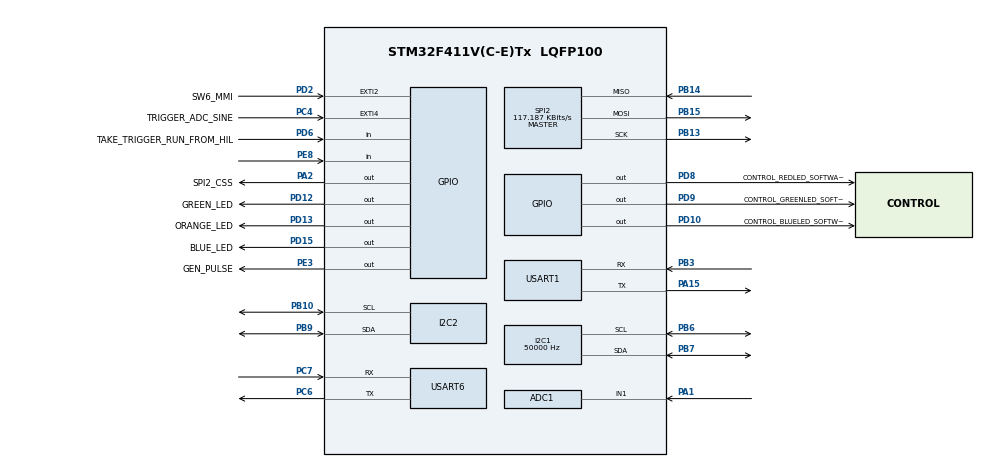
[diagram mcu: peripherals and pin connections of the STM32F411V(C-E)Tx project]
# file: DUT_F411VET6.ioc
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ADC1.Channel-2\#ChannelRegularConversion=ADC_CHANNEL_1
ADC1.DMAContinuousRequests=ENABLE
ADC1.ExternalTrigConv=ADC_EXTERNALTRIGCONV_T2_TRGO
ADC1.NbrOfConversionFlag=1
ADC1.Rank-2\#ChannelRegularConversion=1
ADC1.SamplingTime-2\#ChannelRegularConversion=ADC_SAMPLETIME_480CYCLES
ADC1.master=1
Dma.ADC1.0.Direction=DMA_PERIPH_TO_MEMORY
Dma.ADC1.0.FIFOMode=DMA_FIFOMODE_DISABLE
Dma.ADC1.0.Instance=DMA2_Stream0
Dma.ADC1.0.MemDataAlignment=DMA_MDATAALIGN_HALFWORD
Dma.ADC1.0.MemInc=DMA_MINC_ENABLE
Dma.ADC1.0.Mode=DMA_CIRCULAR
Dma.ADC1.0.PeriphDataAlignment=DMA_PDATAALIGN_HALFWORD
Dma.ADC1.0.PeriphInc=DMA_PINC_DISABLE
Dma.ADC1.0.Priority=DMA_PRIORITY_HIGH
Dma.Request0=ADC1
I2C1.ClockSpeed=50000
I2C2.I2C_Mode=I2C_Fast
Mcu.Family=STM32F4
Mcu.Name=STM32F411V(C-E)Tx
Mcu.Package=LQFP100
NVIC.DMA2_Stream0_IRQn=true\:6\:0\:true\:false\:true\:false\:true\:true
NVIC.EXTI2_IRQn=true\:6\:0\:true\:false\:true\:true\:true\:true
NVIC.EXTI4_IRQn=true\:6\:0\:true\:false\:true\:true\:true\:true
NVIC.PriorityGroup=NVIC_PRIORITYGROUP_4
PA1.Signal=ADCx_IN1
PA13.Mode=Serial_Wire
PA13.Signal=SYS_JTMS-SWDIO
PA14.Mode=Serial_Wire
PA14.Signal=SYS_JTCK-SWCLK
PA15.Mode=Asynchronous
PA15.Signal=USART1_TX
PA2.GPIO_Label=SPI2_CSS
PA2.GPIO_PuPd=GPIO_PULLUP
PA2.GPIO_Speed=GPIO_SPEED_FREQ_VERY_HIGH
PA2.PinState=GPIO_PIN_SET
PA2.Signal=GPIO_Output
PB10.Mode=I2C
PB10.Signal=I2C2_SCL
PB13.GPIO_PuPd=GPIO_PULLUP
PB13.Mode=Full_Duplex_Master
PB13.Signal=SPI2_SCK
PB14.GPIO_PuPd=GPIO_PULLUP
PB14.Mode=Full_Duplex_Master
PB14.Signal=SPI2_MISO
PB15.GPIO_PuPd=GPIO_PULLUP
PB15.Mode=Full_Duplex_Master
PB15.Signal=SPI2_MOSI
PB3.Mode=Asynchronous
PB3.Signal=USART1_RX
PB6.GPIO_Pu=GPIO_PULLUP
PB6.GPIO_Speed=GPIO_SPEED_FREQ_VERY_HIGH
PB6.Mode=I2C
PB6.Signal=I2C1_SCL
PB7.GPIO_Pu=GPIO_PULLUP
PB7.GPIO_Speed=GPIO_SPEED_FREQ_VERY_HIGH
PB7.Mode=I2C
PB7.Signal=I2C1_SDA
PB9.Mode=I2C
PB9.Signal=I2C2_SDA
PC4.GPIO_Label=TRIGGER_ADC_SINE
PC4.GPIO_ModeDefaultEXTI=GPIO_MODE_IT_FALLING
PC4.GPIO_PuPd=GPIO_PULLUP
PC4.Signal=GPXTI4
PC6.Mode=Asynchronous
PC6.Signal=USART6_TX
PC7.Mode=Asynchronous
PC7.Signal=USART6_RX
PD10.GPIO_Label=CONTROL_BLUELED_SOFTWARE
PD10.GPIO_PuPd=GPIO_PULLUP
PD10.GPIO_Speed=GPIO_SPEED_FREQ_MEDIUM
PD10.Signal=GPIO_Output
PD12.GPIO_Label=GREEN_LED
PD12.GPIO_PuPd=GPIO_PULLUP
PD12.Signal=GPIO_Output
PD13.GPIO_Label=ORANGE_LED
PD13.GPIO_PuPd=GPIO_PULLUP
PD13.GPIO_Speed=GPIO_SPEED_FREQ_LOW
PD13.Signal=GPIO_Output
PD15.GPIO_Label=BLUE_LED
PD15.GPIO_PuPd=GPIO_PULLUP
PD15.GPIO_Speed=GPIO_SPEED_FREQ_LOW
PD15.Signal=GPIO_Output
PD2.GPIO_Label=SW6_MMI
PD2.GPIO_ModeDefaultEXTI=GPIO_MODE_IT_RISING_FALLING
PD2.GPIO_PuPd=GPIO_PULLUP
PD2.Signal=GPXTI2
PD6.GPIO_Label=TAKE_TRIGGER_RUN_FROM_HIL
PD6.GPIO_PuPd=GPIO_PULLDOWN
PD6.Signal=GPIO_Input
PD8.GPIO_Label=CONTROL_REDLED_SOFTWARE
PD8.GPIO_PuPd=GPIO_PULLUP
PD8.GPIO_Speed=GPIO_SPEED_FREQ_MEDIUM
PD8.Signal=GPIO_Output
PD9.GPIO_Label=CONTROL_GREENLED_SOFTWARE
PD9.GPIO_PuPd=GPIO_PULLUP
PD9.GPIO_Speed=GPIO_SPEED_FREQ_MEDIUM
PD9.Signal=GPIO_Output
PE3.GPIO_Label=GEN_PULSE
PE3.GPIO_PuPd=GPIO_PULLUP
PE3.GPIO_Speed=GPIO_SPEED_FREQ_MEDIUM
PE3.Signal=GPIO_Output
PE8.GPIO_PuPd=GPIO_PULLUP
PE8.Signal=GPIO_Input
PH0\ -\ OSC_IN.Mode=HSE-External-Oscillator
PH0\ -\ OSC_IN.Signal=RCC_OSC_IN
PH1\ -\ OSC_OUT.Mode=HSE-External-Oscillator
PH1\ -\ OSC_OUT.Signal=RCC_OSC_OUT
ProjectManager.HeapSize=0x200
ProjectManager.StackSize=0x400
ProjectManager.TargetToolchain=STM32CubeIDE
RCC.48MHZClocksFreq_Value=30000000
RCC.AHBFreq_Value=60000000
RCC.APB1CLKDivider=RCC_HCLK_DIV2
RCC.APB1Freq_Value=30000000
RCC.APB1TimFreq_Value=60000000
RCC.APB2Freq_Value=60000000
RCC.APB2TimFreq_Value=60000000
RCC.CortexFreq_Value=60000000
RCC.HCLKFreq_Value=60000000
RCC.HSE_VALUE=8000000
RCC.HSI_VALUE=16000000
RCC.LSE_VALUE=32768
RCC.PLLM=4
RCC.PLLN=60
RCC.PLLSourceVirtual=RCC_PLLSOURCE_HSE
RCC.SYSCLKFreq_VALUE=60000000
RCC.SYSCLKSource=RCC_SYSCLKSOURCE_PLLCLK
RCC.VCOOutputFreq_Value=120000000
SH.ADCx_IN1.0=ADC1_IN1,IN1
SPI2.BaudRatePrescaler=SPI_BAUDRATEPRESCALER_256
SPI2.CLKPhase=SPI_PHASE_2EDGE
SPI2.CLKPolarity=SPI_POLARITY_LOW
SPI2.CalculateBaudRate=117.187 KBits/s
SPI2.Direction=SPI_DIRECTION_2LINES
SPI2.Mode=SPI_MODE_MASTER
SPI2.VirtualType=VM_MASTER
TIM2.Period=4
TIM2.Prescaler=59
TIM2.TIM_MasterOutputTrigger=TIM_TRGO_UPDATE
USART1.VirtualMode=VM_ASYNC
USART6.VirtualMode=VM_ASYNC
VP_TIM2_VS_ClockSourceINT.Mode=Internal
board=custom

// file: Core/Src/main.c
/* USER CODE BEGIN Header */
/**
 ******************************************************************************
 * @file           : main.c
 * @brief          : Main program body
 ******************************************************************************
 * @attention
 *
 * Copyright (c) 2025 STMicroelectronics.
 * All rights reserved.
 *
 * This software is licensed under terms that can be found in the LICENSE file
 * in the root directory of this software component.
 * If no LICENSE file comes with this software, it is provided AS-IS.
 *
 ******************************************************************************
 */
/* USER CODE END Header */
#include "main.h"

/* USER CODE BEGIN Includes */

// #include <stdbool.h>
// #include "FreeRTOS.h"
// #include "task.h"
//
// #include "queue.h"
// #include "semphr.h"
// #include <string.h>
#include "uart_log.h"
#include "i2c.h"

#include "DUTtask.h"
#include "RTC.h"
#include <stdbool.h>
#include "FreeRTOS.h"
#include "task.h"
#include "W25Q32_EEPROM_Lib/W25Q32_lib.h"
#include <string.h>

#include "uartstdio.h"

#include "test_case.h"
#include "process_sine_wave/process_sine_wave.h"
#include "mcp4725_github.h"
/* USER CODE END Includes */

I2C_HandleTypeDef hi2c2;

/* USER CODE BEGIN PV */
extern TaskHandle_t buttonTaskHandle;
/* USER CODE END PV */

void SystemClock_Config(void);
static void MX_GPIO_Init(void);
static void MX_DMA_Init(void);
static void MX_USART1_UART_Init(void);
static void MX_USART6_UART_Init(void);
static void MX_I2C1_Init(void);
static void MX_SPI2_Init(void);
static void MX_ADC1_Init(void);
static void MX_TIM2_Init(void);
static void MX_I2C2_Init(void);

/* USER CODE BEGIN 0 */
// uCAN_MSG txMessage1;
// uCAN_MSG rxMessage1;
/* USER CODE END 0 */

int main(void)
{

  /* MCU Configuration--------------------------------------------------------*/

  /* Reset of all peripherals, Initializes the Flash interface and the Systick. */
  HAL_Init();

  /* USER CODE BEGIN Init */
  //  NVIC_SetPriorityGrouping(0);
  /* USER CODE END Init */

  /* Configure the system clock */
  SystemClock_Config();

  /* Initialize all configured peripherals */
  MX_GPIO_Init();
  MX_DMA_Init();
  MX_USART1_UART_Init();
  MX_USART6_UART_Init();
  MX_I2C1_Init();
  MX_SPI2_Init();
  MX_ADC1_Init();
  MX_TIM2_Init();
  MX_I2C2_Init();
  /* USER CODE BEGIN 2 */
  Init_semaphore();
  Config_DMA_sine_wave_destination();
  while (!LL_GPIO_IsInputPinSet(TAKE_TRIGGER_RUN_FROM_HIL_GPIO_Port, TAKE_TRIGGER_RUN_FROM_HIL_Pin))
    ;

  LL_mDelay(200);

  LL_GPIO_TogglePin(ORANGE_LED_GPIO_Port, ORANGE_LED_Pin);

  // test_case_3();
  test_case_4();

  vTaskStartScheduler();
  /* USER CODE END 2 */

  /* Infinite loop */
  while (1)
  {

  }
}

void SystemClock_Config(void)
{
  LL_FLASH_SetLatency(LL_FLASH_LATENCY_1);
  while (LL_FLASH_GetLatency() != LL_FLASH_LATENCY_1)
  {
  }
  LL_PWR_SetRegulVoltageScaling(LL_PWR_REGU_VOLTAGE_SCALE1);
  LL_RCC_HSE_Enable();

  /* Wait till HSE is ready */
  while (LL_RCC_HSE_IsReady() != 1)
  {
  }
  LL_RCC_PLL_ConfigDomain_SYS(LL_RCC_PLLSOURCE_HSE, LL_RCC_PLLM_DIV_4, 60, LL_RCC_PLLP_DIV_2);
  LL_RCC_PLL_Enable();

  /* Wait till PLL is ready */
  while (LL_RCC_PLL_IsReady() != 1)
  {
  }
  while (LL_PWR_IsActiveFlag_VOS() == 0)
  {
  }
  LL_RCC_SetAHBPrescaler(LL_RCC_SYSCLK_DIV_1);
  LL_RCC_SetAPB1Prescaler(LL_RCC_APB1_DIV_2);
  LL_RCC_SetAPB2Prescaler(LL_RCC_APB2_DIV_1);
  LL_RCC_SetSysClkSource(LL_RCC_SYS_CLKSOURCE_PLL);

  /* Wait till System clock is ready */
  while (LL_RCC_GetSysClkSource() != LL_RCC_SYS_CLKSOURCE_STATUS_PLL)
  {
  }
  LL_SetSystemCoreClock(60000000);

  /* Update the time base */
  if (HAL_InitTick(TICK_INT_PRIORITY) != HAL_OK)
  {
    Error_Handler();
  }
  LL_RCC_SetTIMPrescaler(LL_RCC_TIM_PRESCALER_TWICE);
}

static void MX_ADC1_Init(void)
{

  LL_ADC_InitTypeDef ADC_InitStruct = {0};
  LL_ADC_REG_InitTypeDef ADC_REG_InitStruct = {0};
  LL_ADC_CommonInitTypeDef ADC_CommonInitStruct = {0};

  LL_GPIO_InitTypeDef GPIO_InitStruct = {0};

  /* Peripheral clock enable */
  LL_APB2_GRP1_EnableClock(LL_APB2_GRP1_PERIPH_ADC1);

  LL_AHB1_GRP1_EnableClock(LL_AHB1_GRP1_PERIPH_GPIOA);
  /**ADC1 GPIO Configuration
  PA1   ------> ADC1_IN1
  */
  GPIO_InitStruct.Pin = LL_GPIO_PIN_1;
  GPIO_InitStruct.Mode = LL_GPIO_MODE_ANALOG;
  GPIO_InitStruct.Pull = LL_GPIO_PULL_NO;
  LL_GPIO_Init(GPIOA, &GPIO_InitStruct);

  /* ADC1 DMA Init */

  /* ADC1 Init */
  LL_DMA_SetChannelSelection(DMA2, LL_DMA_STREAM_0, LL_DMA_CHANNEL_0);

  LL_DMA_SetDataTransferDirection(DMA2, LL_DMA_STREAM_0, LL_DMA_DIRECTION_PERIPH_TO_MEMORY);

  LL_DMA_SetStreamPriorityLevel(DMA2, LL_DMA_STREAM_0, LL_DMA_PRIORITY_HIGH);

  LL_DMA_SetMode(DMA2, LL_DMA_STREAM_0, LL_DMA_MODE_CIRCULAR);

  LL_DMA_SetPeriphIncMode(DMA2, LL_DMA_STREAM_0, LL_DMA_PERIPH_NOINCREMENT);

  LL_DMA_SetMemoryIncMode(DMA2, LL_DMA_STREAM_0, LL_DMA_MEMORY_INCREMENT);

  LL_DMA_SetPeriphSize(DMA2, LL_DMA_STREAM_0, LL_DMA_PDATAALIGN_HALFWORD);

  LL_DMA_SetMemorySize(DMA2, LL_DMA_STREAM_0, LL_DMA_MDATAALIGN_HALFWORD);

  LL_DMA_DisableFifoMode(DMA2, LL_DMA_STREAM_0);

  /** Common config
   */
  ADC_InitStruct.Resolution = LL_ADC_RESOLUTION_12B;
  ADC_InitStruct.DataAlignment = LL_ADC_DATA_ALIGN_RIGHT;
  ADC_InitStruct.SequencersScanMode = LL_ADC_SEQ_SCAN_DISABLE;
  LL_ADC_Init(ADC1, &ADC_InitStruct);
  ADC_REG_InitStruct.TriggerSource = LL_ADC_REG_TRIG_EXT_TIM2_TRGO;
  ADC_REG_InitStruct.SequencerLength = LL_ADC_REG_SEQ_SCAN_DISABLE;
  ADC_REG_InitStruct.SequencerDiscont = LL_ADC_REG_SEQ_DISCONT_DISABLE;
  ADC_REG_InitStruct.ContinuousMode = LL_ADC_REG_CONV_SINGLE;
  ADC_REG_InitStruct.DMATransfer = LL_ADC_REG_DMA_TRANSFER_UNLIMITED;
  LL_ADC_REG_Init(ADC1, &ADC_REG_InitStruct);
  LL_ADC_REG_SetFlagEndOfConversion(ADC1, LL_ADC_REG_FLAG_EOC_UNITARY_CONV);
  ADC_CommonInitStruct.CommonClock = LL_ADC_CLOCK_SYNC_PCLK_DIV2;
  LL_ADC_CommonInit(__LL_ADC_COMMON_INSTANCE(ADC1), &ADC_CommonInitStruct);
  LL_ADC_REG_StartConversionExtTrig(ADC1, LL_ADC_REG_TRIG_EXT_RISING);

  /** Configure Regular Channel
   */
  LL_ADC_REG_SetSequencerRanks(ADC1, LL_ADC_REG_RANK_1, LL_ADC_CHANNEL_1);
  LL_ADC_SetChannelSamplingTime(ADC1, LL_ADC_CHANNEL_1, LL_ADC_SAMPLINGTIME_480CYCLES);
  /* USER CODE BEGIN ADC1_Init 2 */
  LL_ADC_Enable(ADC1);
  /* USER CODE END ADC1_Init 2 */
}

static void MX_I2C1_Init(void)
{

  LL_I2C_InitTypeDef I2C_InitStruct = {0};

  LL_GPIO_InitTypeDef GPIO_InitStruct = {0};

  LL_AHB1_GRP1_EnableClock(LL_AHB1_GRP1_PERIPH_GPIOB);
  /**I2C1 GPIO Configuration
  PB6   ------> I2C1_SCL
  PB7   ------> I2C1_SDA
  */
  GPIO_InitStruct.Pin = LL_GPIO_PIN_6 | LL_GPIO_PIN_7;
  GPIO_InitStruct.Mode = LL_GPIO_MODE_ALTERNATE;
  GPIO_InitStruct.Speed = LL_GPIO_SPEED_FREQ_VERY_HIGH;
  GPIO_InitStruct.OutputType = LL_GPIO_OUTPUT_OPENDRAIN;
  GPIO_InitStruct.Pull = LL_GPIO_PULL_UP;
  GPIO_InitStruct.Alternate = LL_GPIO_AF_4;
  LL_GPIO_Init(GPIOB, &GPIO_InitStruct);

  /* Peripheral clock enable */
  LL_APB1_GRP1_EnableClock(LL_APB1_GRP1_PERIPH_I2C1);

  /** I2C Initialization
   */
  LL_I2C_DisableOwnAddress2(I2C1);
  LL_I2C_DisableGeneralCall(I2C1);
  LL_I2C_EnableClockStretching(I2C1);
  I2C_InitStruct.PeripheralMode = LL_I2C_MODE_I2C;
  I2C_InitStruct.ClockSpeed = 50000;
  I2C_InitStruct.DutyCycle = LL_I2C_DUTYCYCLE_2;
  I2C_InitStruct.OwnAddress1 = 0;
  I2C_InitStruct.TypeAcknowledge = LL_I2C_ACK;
  I2C_InitStruct.OwnAddrSize = LL_I2C_OWNADDRESS1_7BIT;
  LL_I2C_Init(I2C1, &I2C_InitStruct);
  LL_I2C_SetOwnAddress2(I2C1, 0);
}

static void MX_I2C2_Init(void)
{

  hi2c2.Instance = I2C2;
  hi2c2.Init.ClockSpeed = 400000;
  hi2c2.Init.DutyCycle = I2C_DUTYCYCLE_2;
  hi2c2.Init.OwnAddress1 = 0;
  hi2c2.Init.AddressingMode = I2C_ADDRESSINGMODE_7BIT;
  hi2c2.Init.DualAddressMode = I2C_DUALADDRESS_DISABLE;
  hi2c2.Init.OwnAddress2 = 0;
  hi2c2.Init.GeneralCallMode = I2C_GENERALCALL_DISABLE;
  hi2c2.Init.NoStretchMode = I2C_NOSTRETCH_DISABLE;
  if (HAL_I2C_Init(&hi2c2) != HAL_OK)
  {
    Error_Handler();
  }
}

static void MX_SPI2_Init(void)
{

  LL_SPI_InitTypeDef SPI_InitStruct = {0};

  LL_GPIO_InitTypeDef GPIO_InitStruct = {0};

  /* Peripheral clock enable */
  LL_APB1_GRP1_EnableClock(LL_APB1_GRP1_PERIPH_SPI2);

  LL_AHB1_GRP1_EnableClock(LL_AHB1_GRP1_PERIPH_GPIOB);
  /**SPI2 GPIO Configuration
  PB13   ------> SPI2_SCK
  PB14   ------> SPI2_MISO
  PB15   ------> SPI2_MOSI
  */
  GPIO_InitStruct.Pin = LL_GPIO_PIN_13 | LL_GPIO_PIN_14 | LL_GPIO_PIN_15;
  GPIO_InitStruct.Mode = LL_GPIO_MODE_ALTERNATE;
  GPIO_InitStruct.Speed = LL_GPIO_SPEED_FREQ_VERY_HIGH;
  GPIO_InitStruct.OutputType = LL_GPIO_OUTPUT_PUSHPULL;
  GPIO_InitStruct.Pull = LL_GPIO_PULL_UP;
  GPIO_InitStruct.Alternate = LL_GPIO_AF_5;
  LL_GPIO_Init(GPIOB, &GPIO_InitStruct);

  /* SPI2 parameter configuration*/
  SPI_InitStruct.TransferDirection = LL_SPI_FULL_DUPLEX;
  SPI_InitStruct.Mode = LL_SPI_MODE_MASTER;
  SPI_InitStruct.DataWidth = LL_SPI_DATAWIDTH_8BIT;
  SPI_InitStruct.ClockPolarity = LL_SPI_POLARITY_LOW;
  SPI_InitStruct.ClockPhase = LL_SPI_PHASE_2EDGE;
  SPI_InitStruct.NSS = LL_SPI_NSS_SOFT;
  SPI_InitStruct.BaudRate = LL_SPI_BAUDRATEPRESCALER_DIV256;
  SPI_InitStruct.BitOrder = LL_SPI_MSB_FIRST;
  SPI_InitStruct.CRCCalculation = LL_SPI_CRCCALCULATION_DISABLE;
  SPI_InitStruct.CRCPoly = 10;
  LL_SPI_Init(SPI2, &SPI_InitStruct);
  LL_SPI_SetStandard(SPI2, LL_SPI_PROTOCOL_MOTOROLA);
}

static void MX_TIM2_Init(void)
{

  LL_TIM_InitTypeDef TIM_InitStruct = {0};

  /* Peripheral clock enable */
  LL_APB1_GRP1_EnableClock(LL_APB1_GRP1_PERIPH_TIM2);

  TIM_InitStruct.Prescaler = 59;
  TIM_InitStruct.CounterMode = LL_TIM_COUNTERMODE_UP;
  TIM_InitStruct.Autoreload = 4;
  TIM_InitStruct.ClockDivision = LL_TIM_CLOCKDIVISION_DIV1;
  LL_TIM_Init(TIM2, &TIM_InitStruct);
  LL_TIM_DisableARRPreload(TIM2);
  LL_TIM_SetClockSource(TIM2, LL_TIM_CLOCKSOURCE_INTERNAL);
  LL_TIM_SetTriggerOutput(TIM2, LL_TIM_TRGO_UPDATE);
  LL_TIM_DisableMasterSlaveMode(TIM2);
  /* USER CODE BEGIN TIM2_Init 2 */
  //  LL_TIM_DisableCounter(TIM2);
  /* USER CODE END TIM2_Init 2 */
}

static void MX_USART1_UART_Init(void)
{

  LL_USART_InitTypeDef USART_InitStruct = {0};

  LL_GPIO_InitTypeDef GPIO_InitStruct = {0};

  /* Peripheral clock enable */
  LL_APB2_GRP1_EnableClock(LL_APB2_GRP1_PERIPH_USART1);

  LL_AHB1_GRP1_EnableClock(LL_AHB1_GRP1_PERIPH_GPIOA);
  LL_AHB1_GRP1_EnableClock(LL_AHB1_GRP1_PERIPH_GPIOB);
  /**USART1 GPIO Configuration
  PA15   ------> USART1_TX
  PB3   ------> USART1_RX
  */
  GPIO_InitStruct.Pin = LL_GPIO_PIN_15;
  GPIO_InitStruct.Mode = LL_GPIO_MODE_ALTERNATE;
  GPIO_InitStruct.Speed = LL_GPIO_SPEED_FREQ_VERY_HIGH;
  GPIO_InitStruct.OutputType = LL_GPIO_OUTPUT_PUSHPULL;
  GPIO_InitStruct.Pull = LL_GPIO_PULL_NO;
  GPIO_InitStruct.Alternate = LL_GPIO_AF_7;
  LL_GPIO_Init(GPIOA, &GPIO_InitStruct);

  GPIO_InitStruct.Pin = LL_GPIO_PIN_3;
  GPIO_InitStruct.Mode = LL_GPIO_MODE_ALTERNATE;
  GPIO_InitStruct.Speed = LL_GPIO_SPEED_FREQ_VERY_HIGH;
  GPIO_InitStruct.OutputType = LL_GPIO_OUTPUT_PUSHPULL;
  GPIO_InitStruct.Pull = LL_GPIO_PULL_NO;
  GPIO_InitStruct.Alternate = LL_GPIO_AF_7;
  LL_GPIO_Init(GPIOB, &GPIO_InitStruct);

  USART_InitStruct.BaudRate = 115200;
  USART_InitStruct.DataWidth = LL_USART_DATAWIDTH_8B;
  USART_InitStruct.StopBits = LL_USART_STOPBITS_1;
  USART_InitStruct.Parity = LL_USART_PARITY_NONE;
  USART_InitStruct.TransferDirection = LL_USART_DIRECTION_TX_RX;
  USART_InitStruct.HardwareFlowControl = LL_USART_HWCONTROL_NONE;
  USART_InitStruct.OverSampling = LL_USART_OVERSAMPLING_16;
  LL_USART_Init(USART1, &USART_InitStruct);
  LL_USART_ConfigAsyncMode(USART1);
  LL_USART_Enable(USART1);
}

static void MX_USART6_UART_Init(void)
{

  LL_USART_InitTypeDef USART_InitStruct = {0};

  LL_GPIO_InitTypeDef GPIO_InitStruct = {0};

  /* Peripheral clock enable */
  LL_APB2_GRP1_EnableClock(LL_APB2_GRP1_PERIPH_USART6);

  LL_AHB1_GRP1_EnableClock(LL_AHB1_GRP1_PERIPH_GPIOC);
  /**USART6 GPIO Configuration
  PC6   ------> USART6_TX
  PC7   ------> USART6_RX
  */
  GPIO_InitStruct.Pin = LL_GPIO_PIN_6 | LL_GPIO_PIN_7;
  GPIO_InitStruct.Mode = LL_GPIO_MODE_ALTERNATE;
  GPIO_InitStruct.Speed = LL_GPIO_SPEED_FREQ_VERY_HIGH;
  GPIO_InitStruct.OutputType = LL_GPIO_OUTPUT_PUSHPULL;
  GPIO_InitStruct.Pull = LL_GPIO_PULL_NO;
  GPIO_InitStruct.Alternate = LL_GPIO_AF_8;
  LL_GPIO_Init(GPIOC, &GPIO_InitStruct);

  USART_InitStruct.BaudRate = 115200;
  USART_InitStruct.DataWidth = LL_USART_DATAWIDTH_8B;
  USART_InitStruct.StopBits = LL_USART_STOPBITS_1;
  USART_InitStruct.Parity = LL_USART_PARITY_NONE;
  USART_InitStruct.TransferDirection = LL_USART_DIRECTION_TX_RX;
  USART_InitStruct.HardwareFlowControl = LL_USART_HWCONTROL_NONE;
  USART_InitStruct.OverSampling = LL_USART_OVERSAMPLING_16;
  LL_USART_Init(USART6, &USART_InitStruct);
  LL_USART_ConfigAsyncMode(USART6);
  LL_USART_Enable(USART6);
}

static void MX_DMA_Init(void)
{

  /* Init with LL driver */
  /* DMA controller clock enable */
  LL_AHB1_GRP1_EnableClock(LL_AHB1_GRP1_PERIPH_DMA2);

  /* DMA interrupt init */
  /* DMA2_Stream0_IRQn interrupt configuration */
  NVIC_SetPriority(DMA2_Stream0_IRQn, NVIC_EncodePriority(NVIC_GetPriorityGrouping(), 6, 0));
  NVIC_EnableIRQ(DMA2_Stream0_IRQn);
}

static void MX_GPIO_Init(void)
{
  LL_EXTI_InitTypeDef EXTI_InitStruct = {0};
  LL_GPIO_InitTypeDef GPIO_InitStruct = {0};

  /* GPIO Ports Clock Enable */
  LL_AHB1_GRP1_EnableClock(LL_AHB1_GRP1_PERIPH_GPIOE);
  LL_AHB1_GRP1_EnableClock(LL_AHB1_GRP1_PERIPH_GPIOH);
  LL_AHB1_GRP1_EnableClock(LL_AHB1_GRP1_PERIPH_GPIOA);
  LL_AHB1_GRP1_EnableClock(LL_AHB1_GRP1_PERIPH_GPIOC);
  LL_AHB1_GRP1_EnableClock(LL_AHB1_GRP1_PERIPH_GPIOB);
  LL_AHB1_GRP1_EnableClock(LL_AHB1_GRP1_PERIPH_GPIOD);

  /**/
  LL_GPIO_ResetOutputPin(GEN_PULSE_GPIO_Port, GEN_PULSE_Pin);

  /**/
  LL_GPIO_ResetOutputPin(GPIOD, CONTROL_REDLED_SOFTWARE_Pin | CONTROL_GREENLED_SOFTWARE_Pin | CONTROL_BLUELED_SOFTWARE_Pin | GREEN_LED_Pin | ORANGE_LED_Pin | BLUE_LED_Pin);

  /**/
  LL_GPIO_SetOutputPin(SPI2_CSS_GPIO_Port, SPI2_CSS_Pin);

  /**/
  GPIO_InitStruct.Pin = GEN_PULSE_Pin;
  GPIO_InitStruct.Mode = LL_GPIO_MODE_OUTPUT;
  GPIO_InitStruct.Speed = LL_GPIO_SPEED_FREQ_MEDIUM;
  GPIO_InitStruct.OutputType = LL_GPIO_OUTPUT_PUSHPULL;
  GPIO_InitStruct.Pull = LL_GPIO_PULL_UP;
  LL_GPIO_Init(GEN_PULSE_GPIO_Port, &GPIO_InitStruct);

  /**/
  GPIO_InitStruct.Pin = SPI2_CSS_Pin;
  GPIO_InitStruct.Mode = LL_GPIO_MODE_OUTPUT;
  GPIO_InitStruct.Speed = LL_GPIO_SPEED_FREQ_VERY_HIGH;
  GPIO_InitStruct.OutputType = LL_GPIO_OUTPUT_PUSHPULL;
  GPIO_InitStruct.Pull = LL_GPIO_PULL_UP;
  LL_GPIO_Init(SPI2_CSS_GPIO_Port, &GPIO_InitStruct);

  /**/
  GPIO_InitStruct.Pin = LL_GPIO_PIN_8;
  GPIO_InitStruct.Mode = LL_GPIO_MODE_INPUT;
  GPIO_InitStruct.Pull = LL_GPIO_PULL_UP;
  LL_GPIO_Init(GPIOE, &GPIO_InitStruct);

  /**/
  GPIO_InitStruct.Pin = CONTROL_REDLED_SOFTWARE_Pin | CONTROL_GREENLED_SOFTWARE_Pin | CONTROL_BLUELED_SOFTWARE_Pin;
  GPIO_InitStruct.Mode = LL_GPIO_MODE_OUTPUT;
  GPIO_InitStruct.Speed = LL_GPIO_SPEED_FREQ_MEDIUM;
  GPIO_InitStruct.OutputType = LL_GPIO_OUTPUT_PUSHPULL;
  GPIO_InitStruct.Pull = LL_GPIO_PULL_UP;
  LL_GPIO_Init(GPIOD, &GPIO_InitStruct);

  /**/
  GPIO_InitStruct.Pin = GREEN_LED_Pin | ORANGE_LED_Pin | BLUE_LED_Pin;
  GPIO_InitStruct.Mode = LL_GPIO_MODE_OUTPUT;
  GPIO_InitStruct.Speed = LL_GPIO_SPEED_FREQ_LOW;
  GPIO_InitStruct.OutputType = LL_GPIO_OUTPUT_PUSHPULL;
  GPIO_InitStruct.Pull = LL_GPIO_PULL_UP;
  LL_GPIO_Init(GPIOD, &GPIO_InitStruct);

  /**/
  GPIO_InitStruct.Pin = TAKE_TRIGGER_RUN_FROM_HIL_Pin;
  GPIO_InitStruct.Mode = LL_GPIO_MODE_INPUT;
  GPIO_InitStruct.Pull = LL_GPIO_PULL_DOWN;
  LL_GPIO_Init(TAKE_TRIGGER_RUN_FROM_HIL_GPIO_Port, &GPIO_InitStruct);

  /**/
  LL_SYSCFG_SetEXTISource(LL_SYSCFG_EXTI_PORTC, LL_SYSCFG_EXTI_LINE4);

  /**/
  LL_SYSCFG_SetEXTISource(LL_SYSCFG_EXTI_PORTD, LL_SYSCFG_EXTI_LINE2);

  /**/
  EXTI_InitStruct.Line_0_31 = LL_EXTI_LINE_4;
  EXTI_InitStruct.LineCommand = ENABLE;
  EXTI_InitStruct.Mode = LL_EXTI_MODE_IT;
  EXTI_InitStruct.Trigger = LL_EXTI_TRIGGER_FALLING;
  LL_EXTI_Init(&EXTI_InitStruct);

  /**/
  EXTI_InitStruct.Line_0_31 = LL_EXTI_LINE_2;
  EXTI_InitStruct.LineCommand = ENABLE;
  EXTI_InitStruct.Mode = LL_EXTI_MODE_IT;
  EXTI_InitStruct.Trigger = LL_EXTI_TRIGGER_RISING_FALLING;
  LL_EXTI_Init(&EXTI_InitStruct);

  /**/
  LL_GPIO_SetPinPull(TRIGGER_ADC_SINE_GPIO_Port, TRIGGER_ADC_SINE_Pin, LL_GPIO_PULL_UP);

  /**/
  LL_GPIO_SetPinPull(SW6_MMI_GPIO_Port, SW6_MMI_Pin, LL_GPIO_PULL_UP);

  /**/
  LL_GPIO_SetPinMode(TRIGGER_ADC_SINE_GPIO_Port, TRIGGER_ADC_SINE_Pin, LL_GPIO_MODE_INPUT);

  /**/
  LL_GPIO_SetPinMode(SW6_MMI_GPIO_Port, SW6_MMI_Pin, LL_GPIO_MODE_INPUT);

  /* EXTI interrupt init*/
  NVIC_SetPriority(EXTI2_IRQn, NVIC_EncodePriority(NVIC_GetPriorityGrouping(), 6, 0));
  NVIC_EnableIRQ(EXTI2_IRQn);
  NVIC_SetPriority(EXTI4_IRQn, NVIC_EncodePriority(NVIC_GetPriorityGrouping(), 6, 0));
  NVIC_EnableIRQ(EXTI4_IRQn);

}

void Error_Handler(void)
{
  __disable_irq();
  while (1)
  {
  }
}
